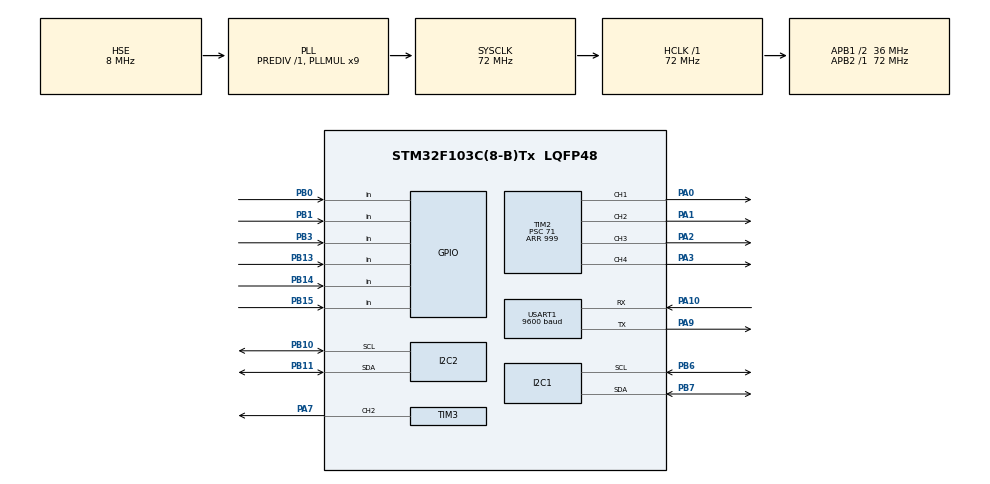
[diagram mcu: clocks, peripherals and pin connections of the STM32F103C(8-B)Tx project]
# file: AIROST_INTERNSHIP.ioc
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I2C2.I2C_Mode=I2C_Fast
Mcu.Family=STM32F1
Mcu.Name=STM32F103C(8-B)Tx
Mcu.Package=LQFP48
NVIC.PriorityGroup=NVIC_PRIORITYGROUP_4
NVIC.USART1_IRQn=true\:0\:0\:false\:false\:true\:true\:true\:true
PA0-WKUP.Signal=S_TIM2_CH1_ETR
PA1.Signal=S_TIM2_CH2
PA10.Mode=Asynchronous
PA10.Signal=USART1_RX
PA13.Mode=Serial_Wire
PA13.Signal=SYS_JTMS-SWDIO
PA14.Mode=Serial_Wire
PA14.Signal=SYS_JTCK-SWCLK
PA2.Signal=S_TIM2_CH3
PA3.Signal=S_TIM2_CH4
PA7.Signal=S_TIM3_CH2
PA9.Mode=Asynchronous
PA9.Signal=USART1_TX
PB0.Signal=GPIO_Input
PB1.Signal=GPIO_Input
PB10.Mode=I2C
PB10.Signal=I2C2_SCL
PB11.Mode=I2C
PB11.Signal=I2C2_SDA
PB13.Signal=GPIO_Input
PB14.Signal=GPIO_Input
PB15.Signal=GPIO_Input
PB3.Signal=GPIO_Input
PB6.Mode=I2C
PB6.Signal=I2C1_SCL
PB7.Mode=I2C
PB7.Signal=I2C1_SDA
PD0-OSC_IN.Mode=HSE-External-Oscillator
PD0-OSC_IN.Signal=RCC_OSC_IN
PD1-OSC_OUT.Mode=HSE-External-Oscillator
PD1-OSC_OUT.Signal=RCC_OSC_OUT
ProjectManager.HeapSize=0x200
ProjectManager.StackSize=0x400
ProjectManager.TargetToolchain=STM32CubeIDE
RCC.AHBFreq_Value=72000000
RCC.APB1CLKDivider=RCC_HCLK_DIV2
RCC.APB1Freq_Value=36000000
RCC.APB1TimFreq_Value=72000000
RCC.APB2Freq_Value=72000000
RCC.APB2TimFreq_Value=72000000
RCC.HCLKFreq_Value=72000000
RCC.PLLMUL=RCC_PLL_MUL9
RCC.PLLSourceVirtual=RCC_PLLSOURCE_HSE
RCC.SYSCLKFreq_VALUE=72000000
RCC.SYSCLKSource=RCC_SYSCLKSOURCE_PLLCLK
RCC.USBFreq_Value=72000000
SH.S_TIM2_CH1_ETR.0=TIM2_CH1,PWM Generation1 CH1
SH.S_TIM2_CH2.0=TIM2_CH2,PWM Generation2 CH2
SH.S_TIM2_CH3.0=TIM2_CH3,PWM Generation3 CH3
SH.S_TIM2_CH4.0=TIM2_CH4,PWM Generation4 CH4
SH.S_TIM3_CH2.0=TIM3_CH2,PWM Generation2 CH2
TIM2.Channel-PWM\ Generation1\ CH1=TIM_CHANNEL_1
TIM2.Channel-PWM\ Generation2\ CH2=TIM_CHANNEL_2
TIM2.Channel-PWM\ Generation3\ CH3=TIM_CHANNEL_3
TIM2.Channel-PWM\ Generation4\ CH4=TIM_CHANNEL_4
TIM2.Period=999
TIM2.Prescaler=71
TIM3.Channel-PWM\ Generation2\ CH2=TIM_CHANNEL_2
TIM3.Period=19999
TIM3.Prescaler=71
USART1.BaudRate=9600
USART1.VirtualMode=VM_ASYNC
board=custom

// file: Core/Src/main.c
/* USER CODE BEGIN Header */
/* Blue Pill (STM32F103C8T6) + mini L298N (no ENA/ENB pins) + Bluetooth BT-06
 * WASD control over Bluetooth serial. STM32CubeIDE + HAL.
 *
 * HOW THE MINI L298N IS DRIVEN (no enable pins):
 *   Speed is done by putting PWM directly on the IN pins.
 *     forward : IN_A = PWM, IN_B = 0
 *     reverse : IN_A = 0,   IN_B = PWM
 *     stop    : both 0
 *
 * ---------- WIRING ----------
 *   PA0 -> IN1   (left motor)
 *   PA1 -> IN2   (left motor)
 *   PA2 -> IN3   (right motor)
 *   PA3 -> IN4   (right motor)
 *   Motor driver GND -> Blue Pill GND (common ground)
 *   Motor battery    -> driver motor power input
 *
 *   BT-06 TXD -> PA10 (USART1 RX)
 *   BT-06 RXD -> PA9  (USART1 TX)
 *   BT-06 VCC -> 5V,  BT-06 GND -> GND
 *
 * ---------- CubeMX SETTINGS (must match for this file to work) ----------
 *   SYS    : Debug = Serial Wire
 *   RCC    : HSE = Crystal/Ceramic Resonator, 72 MHz clock (HCLK 72, APB1 36)
 *   TIM2   : Clock Source = Internal Clock
 *            CH1, CH2, CH3, CH4 = PWM Generation  (PA0, PA1, PA2, PA3)
 *            Prescaler = 71, Counter Period = 999   (1 kHz PWM, duty 0-999)
 *   USART1 : Asynchronous, 9600 baud, 8N1 (PA9 TX, PA10 RX)
 *            NVIC: USART1 global interrupt = Enabled
 *   Project Manager: generate code, then replace main.c with this file.
 *
 * ---------- KEYS (send one character via a Bluetooth serial terminal) ----------
 *   W = forward     S = backward     A = turn left     D = turn right
 *   X = stop
 *   1-9 = speed (1 slowest, 9 fastest)
 *   ? = show help. Manual movement times out after 1 seconds without a new command.
 *   N = Line Following ONLY
 *   M = Basic Map Loop
 *   K = Show KP KD value
 *
 *   --------------------------Tuning Keys-------------------------------------------
 *  	Junction counting (primary method)
 *  KC	=  Straight-ahead time at a corner before pivoting (Not needed)
 *  KJ	=  Straight-ahead time after counting the target branch,
 *  	   before pivoting into it
 *
 *
 */
/**
  ******************************************************************************
  * @file           : main.c
  * @brief          : Main program body
  ******************************************************************************
  * @attention
  *
  * Copyright (c) 2026 STMicroelectronics.
  * All rights reserved.
  *
  * This software is licensed under terms that can be found in the LICENSE file
  * in the root directory of this software component.
  * If no LICENSE file comes with this software, it is provided AS-IS.
  *
  ******************************************************************************
  */
/* USER CODE END Header */
#include "main.h"

/* USER CODE BEGIN Includes */
#include <stdlib.h>
#include <string.h>
#include <stdio.h>
#include "bluetooth.h"
#include "colour.h"
#include "line_following.h"
#include "mission.h"
#include "motor.h"
#include "servo_claw.h"
#include "oled.h"
/* USER CODE END Includes */

/* USER CODE BEGIN PD */
#define CMD_TIMEOUT_MS     1000U /* auto-stop manual movement after 1 s */

/* USER CODE END PD */

I2C_HandleTypeDef hi2c1;
I2C_HandleTypeDef hi2c2;

TIM_HandleTypeDef htim2;
TIM_HandleTypeDef htim3;

UART_HandleTypeDef huart1;

/* USER CODE BEGIN PV */
static char cmd = 'X';
static int speed = 200;                 /* 0-999 */
static uint32_t lastCmdTime = 0;
static uint8_t autoMode = 0;           /* 1 = Basic Map Loop; 2 = Line Follow only */
static uint8_t colourReady = 0;

/* USER CODE END PV */

void SystemClock_Config(void);
static void MX_GPIO_Init(void);
static void MX_TIM2_Init(void);
static void MX_USART1_UART_Init(void);
static void MX_TIM3_Init(void);
static void MX_I2C1_Init(void);
static void MX_I2C2_Init(void);

/* USER CODE BEGIN 0 */

//Colour Debug
#define COLOUR_DEBUG 0
#define COLOUR_REPORT_MS 500U

static void colourDebugTick(void)
{
#if COLOUR_DEBUG
    static uint32_t lastReport = 0;
    uint32_t now = HAL_GetTick();

    if (!colourReady) return;

    if ((now - lastReport) < COLOUR_REPORT_MS)
        return;

    lastReport = now;

    ColourData_t raw;

    if (ColourSensor_ReadRaw(&raw) != HAL_OK)
    {
        btPrint("[COLOUR] READ ERROR\r\n");
        return;
    }

    DetectedColour_t detected = ColourSensor_GetColour();

    const char *name = "UNKNOWN";

    if (detected == COLOUR_RED)
        name = "RED";
    else if (detected == COLOUR_GREEN)
        name = "GREEN";
    else if (detected == COLOUR_BLUE)
        name = "BLUE";

    char msg[100];

    snprintf(msg, sizeof(msg),
             "[COLOUR] R:%u G:%u B:%u C:%u | %s\r\n",
             (unsigned)raw.r,
             (unsigned)raw.g,
             (unsigned)raw.b,
             (unsigned)raw.c,
             name);

    btPrint(msg);
#endif
}

static void handleBtCommand(char c)
{
    static char rx_buf[32];
    static uint8_t rx_idx = 0;
    static uint8_t debugMode = 0; // 0 = OFF (Locked), 1 = ON (Unlocked)
    const char *motion = NULL;
    char line[90];

    // 1. Check for end of line (Enter / Newline sent from phone app)
    if (c == '\r' || c == '\n')
    {
        if (rx_idx == 0) return; // Ignore empty newlines
        rx_buf[rx_idx] = '\0';   // Null-terminate string
        rx_idx = 0;              // Reset buffer index for next command

        if (!debugMode)
        {
            btPrint("[LOCKED] Send 'T' to enable Debug Mode first\r\n");
            return;
        }

        char prefix = rx_buf[0];

        // --- Status Command ('v' or 'V') ---
        if (prefix == 'v' || prefix == 'V')
        {
            char msg[120];
            sprintf(msg, "[STATUS] Margin:%.2f | Rmin:%.2f | Gmin:%.2f | Bmin:%.2f | Bmax:%.2f | RGdiff:%.2f\r\n",
                    tuning_red_margin, tuning_red_min, tuning_green_min, tuning_blue_min, tuning_blue_max, tuning_rg_diff);
            btPrint(msg);
            return;
        }

        // --- Direct Value Tuning (e.g. m0.10, o0.62, r0.40) ---
        char *endptr = NULL;
        float val = strtof(&rx_buf[1], &endptr);
        if (endptr != &rx_buf[1] && *endptr == '\0')
        {
            char msg[60];
            switch (prefix)
            {
                case 'm': case 'M':
                    tuning_red_margin = val;
                    sprintf(msg, "[TUNE] Red Margin set to %.2f\r\n", tuning_red_margin);
                    break;
                case 'r': case 'R':
                    tuning_red_min = val;
                    sprintf(msg, "[TUNE] Red Min set to %.2f\r\n", tuning_red_min);
                    break;
                case 'g': case 'G':
                    tuning_green_min = val;
                    sprintf(msg, "[TUNE] Green Min set to %.2f\r\n", tuning_green_min);
                    break;
                case 'b': case 'B':
                    tuning_blue_min = val;
                    sprintf(msg, "[TUNE] Blue Min set to %.2f\r\n", tuning_blue_min);
                    break;
                case 'o': case 'O':
                    tuning_blue_max = val;
                    sprintf(msg, "[TUNE] Blue Max set to %.2f\r\n", tuning_blue_max);
                    break;
                case 'p': case 'P':
                    tuning_rg_diff = val;
                    sprintf(msg, "[TUNE] RG Diff set to %.2f\r\n", tuning_rg_diff);
                    break;
                default:
                    btPrint("[ERR] Unknown letter prefix\r\n");
                    return;
            }
            btPrint(msg);
            return;
        }

        btPrint("[ERR] Format error. Use letter + value (e.g., m0.10, o0.62)\r\n");
        return;
    }

    // 2. Multi-character PID tuning state machine (KP...; / KD...; / K;)
    if (debugMode && pidTuneKey(c))
    {
        rx_idx = 0;
        return;
    }

    // 3. If already mid-buffer (rx_idx > 0), keep collecting digits/decimal until '\n'
    if (rx_idx > 0)
    {
        // Allow immediate STOP ('X'/'x'/' ') to break out of a half-typed line
        if (c == 'X' || c == 'x' || c == ' ')
        {
            rx_idx = 0;
            autoMode = 0;
            cmd = 'X';
            stopMotors();
            btPrint("[MOTOR] STOP\r\n");
            return;
        }

        if (rx_idx < sizeof(rx_buf) - 1)
        {
            rx_buf[rx_idx++] = c;
        }
        else
        {
            rx_idx = 0;
            btPrint("[ERR] Command string too long\r\n");
        }
        return;
    }

    // 4. Fresh single-character commands (rx_idx is guaranteed to be 0 here)

    // --- Explicit Debug Mode Control ('T' = ON, 't' = OFF) ---
    if (c == 'T')
    {
        debugMode = 1;
        btPrint("[DEBUG] ON - PID & Colour tuning unlocked\r\n");
        return;
    }
    if (c == 't')
    {
        debugMode = 0;
        btPrint("[DEBUG] OFF - Tuning locked\r\n");
        return;
    }

    // --- Multi-Character Line Prefixes (Start buffering ONLY for these letters) ---
    if (c == 'm' || c == 'r' || c == 'g' || c == 'b' || c == 'o' || c == 'p' || c == 'v' || c == 'V')
    {
        if (!debugMode)
        {
            btPrint("[LOCKED] Send 'T' to enable Debug Mode first\r\n");
            return;
        }
        rx_buf[rx_idx++] = c; // Start line buffer (rx_idx becomes 1)
        return;
    }

    // --- Debug-Only Single-Char Commands ---
    if (c == 'c' || c == 'C')
    {
        if (!debugMode) { btPrint("[LOCKED] Send 'T' to enable Debug Mode\r\n"); return; }
        ColourSensor_CalibrateWhite();
        btPrint("[CAL] White Calibrated\r\n");
        return;
    }
    if (c == 'z' || c == 'Z')
    {
        if (!debugMode) { btPrint("[LOCKED] Send 'T' to enable Debug Mode\r\n"); return; }
        ColourData_t raw;
        if (ColourSensor_ReadRaw(&raw) == HAL_OK)
        {
            float rR = (raw.c > 0) ? (float)raw.r / raw.c : 0;
            float gR = (raw.c > 0) ? (float)raw.g / raw.c : 0;
            float bR = (raw.c > 0) ? (float)raw.b / raw.c : 0;
            char msg[80];
            sprintf(msg, "[RATIOS] R:%.2f G:%.2f B:%.2f C:%u\r\n", rR, gR, bR, raw.c);
            btPrint(msg);

            DetectedColour_t det = ColourSensor_GetColour();
            if (det == COLOUR_RED) btPrint("-> RED\r\n");
            else if (det == COLOUR_GREEN) btPrint("-> GREEN\r\n");
            else if (det == COLOUR_BLUE) btPrint("-> BLUE\r\n");
            else btPrint("-> UNKNOWN\r\n");
        }
        return;
    }

    // --- Standard Driving & Mission Commands (Always Available) ---
    if (c >= '1' && c <= '9')
    {
        speed = 200 + (c - '1') * 25;  /* 1 -- 9 -> 200 -- 400 */
        lastCmdTime = HAL_GetTick();
        snprintf(line, sizeof(line), "[SPEED] PWM = %d / 999\r\n", speed);
        btPrint(line);
        return;
    }
    if (c == 'M') { autoMode = 1; missionStart(); OLED_UI_SetMode("MISSION"); OLED_UI_SetStatus("MISSION RUNNING"); btPrint("[MODE] MISSION STARTS\r\n"); return; }
    if (c == 'N' || c == 'n') { autoMode = 2; lineFollowReset(); OLED_UI_SetMode("LINE FOLLOWING"); OLED_UI_SetStatus("LINE FOLLOWING"); btPrint("[MODE] LINE FOLLOW ONLY\r\n"); return; }
    if (c == 'X' || c == 'x' || c == ' ') { autoMode = 0; cmd = 'X'; stopMotors(); OLED_UI_SetMode("MANUAL"); OLED_UI_SetStatus("READY"); btPrint("[MOTOR] STOP\r\n"); return; }
    if (c == '?' || c == 'H' || c == 'h') { btPrint("[HELP] W/S/A/D move; X stop; 1-9 speed; T/t debug on/off; (Debug: m/r/g/b/o/p+val, v, c, z)\r\n"); return; }
    if (c == 'F' || c == 'f') { Claw_Open(); OLED_UI_Claw("OPEN"); btPrint("[CLAW] OPEN\r\n"); return; }
    if (c == 'G') { Claw_Close(); OLED_UI_Claw("CLOSE"); btPrint("[CLAW] CLOSE\r\n"); return; }

    // Movement (W/A/S/D)
    if (c == 'W' || c == 'w') motion = "FORWARD";
    else if (c == 'S' || c == 's') motion = "BACKWARD";
    else if (c == 'A' || c == 'a') motion = "LEFT";
    else if (c == 'D' || c == 'd') motion = "RIGHT";

    if (motion != NULL)
    {
        autoMode = 0;
        cmd = c;
        lastCmdTime = HAL_GetTick();
        OLED_UI_SetStatus(motion);
        snprintf(line, sizeof(line), "[MOTOR] %s | Speed: %d\r\n", motion, speed);
        btPrint(line);
    }
}
/* USER CODE END 0 */

int main(void)
{

  /* MCU Configuration--------------------------------------------------------*/

  /* Reset of all peripherals, Initializes the Flash interface and the Systick. */
  HAL_Init();

  /* Configure the system clock */
  SystemClock_Config();

  /* Initialize all configured peripherals */
  MX_GPIO_Init();
  MX_TIM2_Init();
  MX_USART1_UART_Init();
  MX_TIM3_Init();
  MX_I2C1_Init();
  MX_I2C2_Init();
  /* USER CODE BEGIN 2 */
  HAL_TIM_PWM_Start(&htim2, TIM_CHANNEL_1);
  HAL_TIM_PWM_Start(&htim2, TIM_CHANNEL_2);
  HAL_TIM_PWM_Start(&htim2, TIM_CHANNEL_3);
  HAL_TIM_PWM_Start(&htim2, TIM_CHANNEL_4);
  stopMotors();

    lastCmdTime = HAL_GetTick();
    if (Bluetooth_Start() != HAL_OK)
    {
        Error_Handler();
    }

    /* start listening to Bluetooth */
  btPrint("[STM32] Ready. Send ? for help.\r\n");

  	//Claw
    if (Claw_Init(&htim3) != HAL_OK)
    {
        Error_Handler();
    }

    //Colour Sensor
    if (ColourSensor_Init(&hi2c1) == HAL_OK)
    {
        colourReady = 1;
        btPrint("[COLOUR] INIT OK\r\n");
    }
    else
    {
        btPrint("[COLOUR] INIT FAILED\r\n");
    }
    OLED_UI_Init();
  /* USER CODE END 2 */

  /* Infinite loop */
  while (1)
  {

    /* USER CODE BEGIN 3 */
	  OLED_UI_Tick(speed);
    uint8_t received;
    while (btPop(&received))
    {
      handleBtCommand((char)received);
    }

    if (autoMode == 1) //Basic Map Loop
        {
          if (!missionTick(speed))
          {
            autoMode = 0;
            cmd = 'X';
            OLED_UI_SetMode("MANUAL");
            btPrint("[MODE] MANUAL - W/A/S/D drive, F/G claw\r\n");
          }
        }
    else if (autoMode == 2) //Line Following
    {
    	lineFollow(speed);
    }
    else
    {
      if (cmd != 'X' && cmd != 'x' && cmd != ' ' &&
          HAL_GetTick() - lastCmdTime >= CMD_TIMEOUT_MS)
      {
        cmd = 'X';
        stopMotors();
        btPrint("[SAFETY] Manual command timeout: STOP\r\n");
      }
      switch (cmd)
      {
        case 'W': case 'w': forward(speed);   break;
        case 'S': case 's': backward(speed);  break;
        case 'A': case 'a': turnLeft(speed);  break;
        case 'D': case 'd': turnRight(speed); break;
        default: stopMotors(); break;
      }
      colourDebugTick();
    }

  }

  /* USER CODE END 3 */
}

void SystemClock_Config(void)
{
  RCC_OscInitTypeDef RCC_OscInitStruct = {0};
  RCC_ClkInitTypeDef RCC_ClkInitStruct = {0};

  /** Initializes the RCC Oscillators according to the specified parameters
  * in the RCC_OscInitTypeDef structure.
  */
  RCC_OscInitStruct.OscillatorType = RCC_OSCILLATORTYPE_HSE;
  RCC_OscInitStruct.HSEState = RCC_HSE_ON;
  RCC_OscInitStruct.HSEPredivValue = RCC_HSE_PREDIV_DIV1;
  RCC_OscInitStruct.HSIState = RCC_HSI_ON;
  RCC_OscInitStruct.PLL.PLLState = RCC_PLL_ON;
  RCC_OscInitStruct.PLL.PLLSource = RCC_PLLSOURCE_HSE;
  RCC_OscInitStruct.PLL.PLLMUL = RCC_PLL_MUL9;
  if (HAL_RCC_OscConfig(&RCC_OscInitStruct) != HAL_OK)
  {
    Error_Handler();
  }

  /** Initializes the CPU, AHB and APB buses clocks
  */
  RCC_ClkInitStruct.ClockType = RCC_CLOCKTYPE_HCLK|RCC_CLOCKTYPE_SYSCLK
                              |RCC_CLOCKTYPE_PCLK1|RCC_CLOCKTYPE_PCLK2;
  RCC_ClkInitStruct.SYSCLKSource = RCC_SYSCLKSOURCE_PLLCLK;
  RCC_ClkInitStruct.AHBCLKDivider = RCC_SYSCLK_DIV1;
  RCC_ClkInitStruct.APB1CLKDivider = RCC_HCLK_DIV2;
  RCC_ClkInitStruct.APB2CLKDivider = RCC_HCLK_DIV1;

  if (HAL_RCC_ClockConfig(&RCC_ClkInitStruct, FLASH_LATENCY_2) != HAL_OK)
  {
    Error_Handler();
  }
}

static void MX_I2C1_Init(void)
{

  hi2c1.Instance = I2C1;
  hi2c1.Init.ClockSpeed = 100000;
  hi2c1.Init.DutyCycle = I2C_DUTYCYCLE_2;
  hi2c1.Init.OwnAddress1 = 0;
  hi2c1.Init.AddressingMode = I2C_ADDRESSINGMODE_7BIT;
  hi2c1.Init.DualAddressMode = I2C_DUALADDRESS_DISABLE;
  hi2c1.Init.OwnAddress2 = 0;
  hi2c1.Init.GeneralCallMode = I2C_GENERALCALL_DISABLE;
  hi2c1.Init.NoStretchMode = I2C_NOSTRETCH_DISABLE;
  if (HAL_I2C_Init(&hi2c1) != HAL_OK)
  {
    Error_Handler();
  }

}

static void MX_I2C2_Init(void)
{

  hi2c2.Instance = I2C2;
  hi2c2.Init.ClockSpeed = 400000;
  hi2c2.Init.DutyCycle = I2C_DUTYCYCLE_2;
  hi2c2.Init.OwnAddress1 = 0;
  hi2c2.Init.AddressingMode = I2C_ADDRESSINGMODE_7BIT;
  hi2c2.Init.DualAddressMode = I2C_DUALADDRESS_DISABLE;
  hi2c2.Init.OwnAddress2 = 0;
  hi2c2.Init.GeneralCallMode = I2C_GENERALCALL_DISABLE;
  hi2c2.Init.NoStretchMode = I2C_NOSTRETCH_DISABLE;
  if (HAL_I2C_Init(&hi2c2) != HAL_OK)
  {
    Error_Handler();
  }

}

static void MX_TIM2_Init(void)
{

  TIM_MasterConfigTypeDef sMasterConfig = {0};
  TIM_OC_InitTypeDef sConfigOC = {0};

  htim2.Instance = TIM2;
  htim2.Init.Prescaler = 71;
  htim2.Init.CounterMode = TIM_COUNTERMODE_UP;
  htim2.Init.Period = 999;
  htim2.Init.ClockDivision = TIM_CLOCKDIVISION_DIV1;
  htim2.Init.AutoReloadPreload = TIM_AUTORELOAD_PRELOAD_DISABLE;
  if (HAL_TIM_PWM_Init(&htim2) != HAL_OK)
  {
    Error_Handler();
  }
  sMasterConfig.MasterOutputTrigger = TIM_TRGO_RESET;
  sMasterConfig.MasterSlaveMode = TIM_MASTERSLAVEMODE_DISABLE;
  if (HAL_TIMEx_MasterConfigSynchronization(&htim2, &sMasterConfig) != HAL_OK)
  {
    Error_Handler();
  }
  sConfigOC.OCMode = TIM_OCMODE_PWM1;
  sConfigOC.Pulse = 0;
  sConfigOC.OCPolarity = TIM_OCPOLARITY_HIGH;
  sConfigOC.OCFastMode = TIM_OCFAST_DISABLE;
  if (HAL_TIM_PWM_ConfigChannel(&htim2, &sConfigOC, TIM_CHANNEL_1) != HAL_OK)
  {
    Error_Handler();
  }
  if (HAL_TIM_PWM_ConfigChannel(&htim2, &sConfigOC, TIM_CHANNEL_2) != HAL_OK)
  {
    Error_Handler();
  }
  if (HAL_TIM_PWM_ConfigChannel(&htim2, &sConfigOC, TIM_CHANNEL_3) != HAL_OK)
  {
    Error_Handler();
  }
  if (HAL_TIM_PWM_ConfigChannel(&htim2, &sConfigOC, TIM_CHANNEL_4) != HAL_OK)
  {
    Error_Handler();
  }
  HAL_TIM_MspPostInit(&htim2);

}

static void MX_TIM3_Init(void)
{

  TIM_MasterConfigTypeDef sMasterConfig = {0};
  TIM_OC_InitTypeDef sConfigOC = {0};

  htim3.Instance = TIM3;
  htim3.Init.Prescaler = 71;
  htim3.Init.CounterMode = TIM_COUNTERMODE_UP;
  htim3.Init.Period = 19999;
  htim3.Init.ClockDivision = TIM_CLOCKDIVISION_DIV1;
  htim3.Init.AutoReloadPreload = TIM_AUTORELOAD_PRELOAD_DISABLE;
  if (HAL_TIM_PWM_Init(&htim3) != HAL_OK)
  {
    Error_Handler();
  }
  sMasterConfig.MasterOutputTrigger = TIM_TRGO_RESET;
  sMasterConfig.MasterSlaveMode = TIM_MASTERSLAVEMODE_DISABLE;
  if (HAL_TIMEx_MasterConfigSynchronization(&htim3, &sMasterConfig) != HAL_OK)
  {
    Error_Handler();
  }
  sConfigOC.OCMode = TIM_OCMODE_PWM1;
  sConfigOC.Pulse = 0;
  sConfigOC.OCPolarity = TIM_OCPOLARITY_HIGH;
  sConfigOC.OCFastMode = TIM_OCFAST_DISABLE;
  if (HAL_TIM_PWM_ConfigChannel(&htim3, &sConfigOC, TIM_CHANNEL_2) != HAL_OK)
  {
    Error_Handler();
  }
  HAL_TIM_MspPostInit(&htim3);

}

static void MX_USART1_UART_Init(void)
{

  huart1.Instance = USART1;
  huart1.Init.BaudRate = 9600;
  huart1.Init.WordLength = UART_WORDLENGTH_8B;
  huart1.Init.StopBits = UART_STOPBITS_1;
  huart1.Init.Parity = UART_PARITY_NONE;
  huart1.Init.Mode = UART_MODE_TX_RX;
  huart1.Init.HwFlowCtl = UART_HWCONTROL_NONE;
  huart1.Init.OverSampling = UART_OVERSAMPLING_16;
  if (HAL_UART_Init(&huart1) != HAL_OK)
  {
    Error_Handler();
  }

}

static void MX_GPIO_Init(void)
{
  GPIO_InitTypeDef GPIO_InitStruct = {0};

  /* GPIO Ports Clock Enable */
  __HAL_RCC_GPIOD_CLK_ENABLE();
  __HAL_RCC_GPIOA_CLK_ENABLE();
  __HAL_RCC_GPIOB_CLK_ENABLE();

  /*Configure GPIO pins : PB0 PB1 PB13 PB14
                           PB15 PB3 */
  GPIO_InitStruct.Pin = GPIO_PIN_0|GPIO_PIN_1|GPIO_PIN_13|GPIO_PIN_14
                          |GPIO_PIN_15|GPIO_PIN_3;
  GPIO_InitStruct.Mode = GPIO_MODE_INPUT;
  GPIO_InitStruct.Pull = GPIO_NOPULL;
  HAL_GPIO_Init(GPIOB, &GPIO_InitStruct);

}

void Error_Handler(void)
{
  __disable_irq();
  while (1)
  {
  }
}
